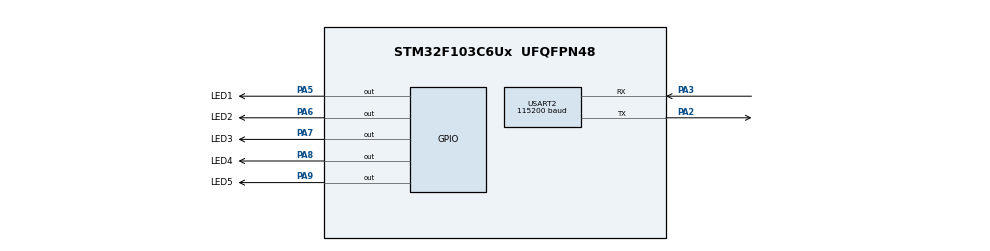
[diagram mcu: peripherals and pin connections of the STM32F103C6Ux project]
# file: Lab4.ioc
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Mcu.Family=STM32F1
Mcu.Name=STM32F103C6Ux
Mcu.Package=UFQFPN48
NVIC.PriorityGroup=NVIC_PRIORITYGROUP_4
NVIC.TIM2_IRQn=true\:0\:0\:false\:false\:true\:false\:true
PA13.Mode=Serial_Wire
PA13.Signal=SYS_JTMS-SWDIO
PA14.Mode=Serial_Wire
PA14.Signal=SYS_JTCK-SWCLK
PA2.Mode=Asynchronous
PA2.Signal=USART2_TX
PA3.Mode=Asynchronous
PA3.Signal=USART2_RX
PA5.GPIO_Label=LED1
PA5.PinState=GPIO_PIN_SET
PA5.Signal=GPIO_Output
PA6.GPIO_Label=LED2
PA6.PinState=GPIO_PIN_SET
PA6.Signal=GPIO_Output
PA7.GPIO_Label=LED3
PA7.PinState=GPIO_PIN_SET
PA7.Signal=GPIO_Output
PA8.GPIO_Label=LED4
PA8.PinState=GPIO_PIN_SET
PA8.Signal=GPIO_Output
PA9.GPIO_Label=LED5
PA9.PinState=GPIO_PIN_SET
PA9.Signal=GPIO_Output
ProjectManager.HeapSize=0x200
ProjectManager.StackSize=0x400
ProjectManager.TargetToolchain=STM32CubeIDE
RCC.APB1Freq_Value=8000000
RCC.APB2Freq_Value=8000000
TIM2.Period=9
TIM2.Prescaler=7999
USART2.BaudRate=115200
USART2.VirtualMode=VM_ASYNC
VP_TIM2_VS_ClockSourceINT.Mode=Internal
board=custom

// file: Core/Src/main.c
/* USER CODE BEGIN Header */
/**
  ******************************************************************************
  * @file           : main.c
  * @brief          : Main program body
  *                   Lab 4 - Cooperative scheduler: 5 task dao 5 LED
  ******************************************************************************
  * @attention
  *
  * <h2><center>&copy; Copyright (c) 2026 STMicroelectronics.
  * All rights reserved.</center></h2>
  *
  * This software component is licensed by ST under BSD 3-Clause license,
  * the "License"; You may not use this file except in compliance with the
  * License. You may obtain a copy of the License at:
  *                        opensource.org/licenses/BSD-3-Clause
  *
  ******************************************************************************
  */
/* USER CODE END Header */
#include "main.h"

/* USER CODE BEGIN Includes */
#include "scheduler.h"
#include "led_task.h"
#include "demo_task.h"
#include "uart_print.h"
/* USER CODE END Includes */

TIM_HandleTypeDef htim2;

UART_HandleTypeDef huart2;

void SystemClock_Config(void);
static void MX_GPIO_Init(void);
static void MX_TIM2_Init(void);
static void MX_USART2_UART_Init(void);

int main(void)
{

  /* MCU Configuration--------------------------------------------------------*/

  /* Reset of all peripherals, Initializes the Flash interface and the Systick. */
  HAL_Init();

  /* Configure the system clock */
  SystemClock_Config();

  /* Initialize all configured peripherals */
  MX_GPIO_Init();
  MX_TIM2_Init();
  MX_USART2_UART_Init();
  /* USER CODE BEGIN 2 */
  SCH_Init();
  print_text("Lab 4 - Cooperative scheduler\r\n");
  SCH_Add_Task(LED1_Toggle, 0, 500 / SCH_TICK_MS);
  SCH_Add_Task(LED2_Toggle, 0, 1000 / SCH_TICK_MS);
  SCH_Add_Task(LED3_Toggle, 0, 1500 / SCH_TICK_MS);
  SCH_Add_Task(LED4_Toggle, 0, 2000 / SCH_TICK_MS);
  SCH_Add_Task(LED5_Toggle, 0, 2500 / SCH_TICK_MS);
  id_task_10ms = SCH_Add_Task(Task_10ms, 1, 1);
  SCH_Add_Task(OneShot_3000ms, 3000 / SCH_TICK_MS, 0);
  SCH_Add_Task(OneShot_1200ms, 1200 / SCH_TICK_MS, 0);
  SCH_Add_Task(OneShot_4500ms, 4500 / SCH_TICK_MS, 0);
  HAL_TIM_Base_Start_IT(&htim2);
  /* USER CODE END 2 */

  /* Infinite loop */
  /* USER CODE BEGIN WHILE */
  while (1)
  {
    SCH_Dispatch_Tasks();
    /* USER CODE END WHILE */

  }
}

void SystemClock_Config(void)
{
  RCC_OscInitTypeDef RCC_OscInitStruct = {0};
  RCC_ClkInitTypeDef RCC_ClkInitStruct = {0};

  /** Initializes the RCC Oscillators according to the specified parameters
  * in the RCC_OscInitTypeDef structure.
  */
  RCC_OscInitStruct.OscillatorType = RCC_OSCILLATORTYPE_HSI;
  RCC_OscInitStruct.HSIState = RCC_HSI_ON;
  RCC_OscInitStruct.HSICalibrationValue = RCC_HSICALIBRATION_DEFAULT;
  RCC_OscInitStruct.PLL.PLLState = RCC_PLL_NONE;
  if (HAL_RCC_OscConfig(&RCC_OscInitStruct) != HAL_OK)
  {
    Error_Handler();
  }
  /** Initializes the CPU, AHB and APB buses clocks
  */
  RCC_ClkInitStruct.ClockType = RCC_CLOCKTYPE_HCLK|RCC_CLOCKTYPE_SYSCLK
                              |RCC_CLOCKTYPE_PCLK1|RCC_CLOCKTYPE_PCLK2;
  RCC_ClkInitStruct.SYSCLKSource = RCC_SYSCLKSOURCE_HSI;
  RCC_ClkInitStruct.AHBCLKDivider = RCC_SYSCLK_DIV1;
  RCC_ClkInitStruct.APB1CLKDivider = RCC_HCLK_DIV1;
  RCC_ClkInitStruct.APB2CLKDivider = RCC_HCLK_DIV1;

  if (HAL_RCC_ClockConfig(&RCC_ClkInitStruct, FLASH_LATENCY_0) != HAL_OK)
  {
    Error_Handler();
  }
}

static void MX_GPIO_Init(void)
{
  GPIO_InitTypeDef GPIO_InitStruct = {0};

  /* GPIO Ports Clock Enable */
  __HAL_RCC_GPIOA_CLK_ENABLE();

  /*Configure GPIO pin Output Level */
  HAL_GPIO_WritePin(GPIOA, LED1_Pin|LED2_Pin|LED3_Pin
                          |LED4_Pin|LED5_Pin, GPIO_PIN_SET);

  /*Configure GPIO pins : LED1_Pin LED2_Pin LED3_Pin LED4_Pin LED5_Pin */
  GPIO_InitStruct.Pin = LED1_Pin|LED2_Pin|LED3_Pin
                          |LED4_Pin|LED5_Pin;
  GPIO_InitStruct.Mode = GPIO_MODE_OUTPUT_PP;
  GPIO_InitStruct.Pull = GPIO_NOPULL;
  GPIO_InitStruct.Speed = GPIO_SPEED_FREQ_LOW;
  HAL_GPIO_Init(GPIOA, &GPIO_InitStruct);

}
static void MX_TIM2_Init(void)
{

  TIM_ClockConfigTypeDef sClockSourceConfig = {0};
  TIM_MasterConfigTypeDef sMasterConfig = {0};

  htim2.Instance = TIM2;
  htim2.Init.Prescaler = 7999;
  htim2.Init.CounterMode = TIM_COUNTERMODE_UP;
  htim2.Init.Period = 9;
  htim2.Init.ClockDivision = TIM_CLOCKDIVISION_DIV1;
  htim2.Init.AutoReloadPreload = TIM_AUTORELOAD_PRELOAD_DISABLE;
  if (HAL_TIM_Base_Init(&htim2) != HAL_OK)
  {
    Error_Handler();
  }
  sClockSourceConfig.ClockSource = TIM_CLOCKSOURCE_INTERNAL;
  if (HAL_TIM_ConfigClockSource(&htim2, &sClockSourceConfig) != HAL_OK)
  {
    Error_Handler();
  }
  sMasterConfig.MasterOutputTrigger = TIM_TRGO_RESET;
  sMasterConfig.MasterSlaveMode = TIM_MASTERSLAVEMODE_DISABLE;
  if (HAL_TIMEx_MasterConfigSynchronization(&htim2, &sMasterConfig) != HAL_OK)
  {
    Error_Handler();
  }

}

static void MX_USART2_UART_Init(void)
{

  huart2.Instance = USART2;
  huart2.Init.BaudRate = 115200;
  huart2.Init.WordLength = UART_WORDLENGTH_8B;
  huart2.Init.StopBits = UART_STOPBITS_1;
  huart2.Init.Parity = UART_PARITY_NONE;
  huart2.Init.Mode = UART_MODE_TX_RX;
  huart2.Init.HwFlowCtl = UART_HWCONTROL_NONE;
  huart2.Init.OverSampling = UART_OVERSAMPLING_16;
  if (HAL_UART_Init(&huart2) != HAL_OK)
  {
    Error_Handler();
  }

}

void Error_Handler(void)
{
  __disable_irq();
  while (1)
  {
  }
}

/************************ (C) COPYRIGHT STMicroelectronics *****END OF FILE****/
